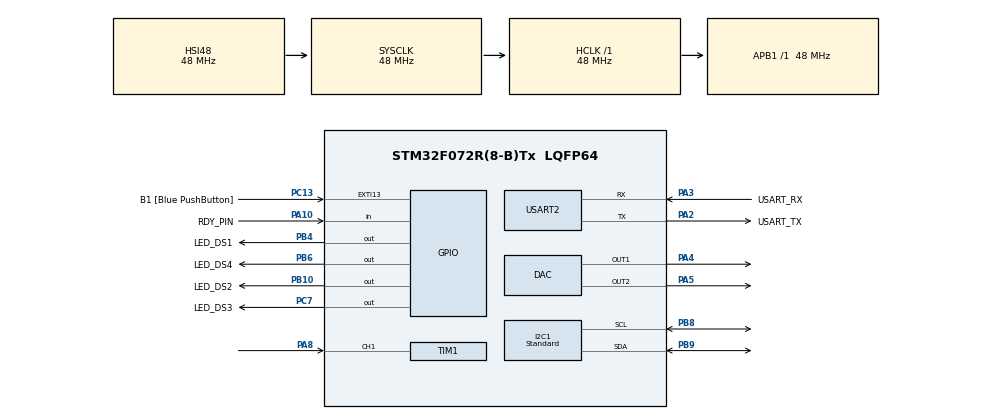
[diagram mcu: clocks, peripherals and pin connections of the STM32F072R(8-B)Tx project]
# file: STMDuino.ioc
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I2C1.I2C_Rise_Time=1
I2C1.I2C_Speed_Mode=I2C_Standard
I2C1.Speed=25
I2C1.Timing=0x00203EFB
Mcu.Family=STM32F0
Mcu.Name=STM32F072R(8-B)Tx
Mcu.Package=LQFP64
PA10.GPIO_Label=RDY_PIN
PA10.GPIO_PuPd=GPIO_PULLUP
PA10.Signal=GPIO_Input
PA13.GPIO_Label=TMS
PA13.Mode=Serial_Wire
PA13.Signal=SYS_SWDIO
PA14.GPIO_Label=TCK
PA14.Mode=Serial_Wire
PA14.Signal=SYS_SWCLK
PA2.GPIO_Label=USART_TX
PA2.GPIO_Mode=GPIO_MODE_AF_PP
PA2.GPIO_PuPd=GPIO_NOPULL
PA2.GPIO_Speed=GPIO_SPEED_FREQ_LOW
PA2.Mode=Asynchronous
PA2.Signal=USART2_TX
PA3.GPIO_Label=USART_RX
PA3.GPIO_Mode=GPIO_MODE_AF_PP
PA3.GPIO_PuPd=GPIO_NOPULL
PA3.GPIO_Speed=GPIO_SPEED_FREQ_LOW
PA3.Mode=Asynchronous
PA3.Signal=USART2_RX
PA4.Signal=COMP_DAC1_group
PA5.Signal=COMP_DAC2_group
PA8.Signal=S_TIM1_CH1
PB10.GPIO_Label=LED_DS2
PB10.Signal=GPIO_Output
PB4.GPIO_Label=LED_DS1
PB4.Signal=GPIO_Output
PB6.GPIO_Label=LED_DS4
PB6.Signal=GPIO_Output
PB8.Mode=I2C
PB8.Signal=I2C1_SCL
PB9.Mode=I2C
PB9.Signal=I2C1_SDA
PC13.GPIO_Label=B1 [Blue PushButton]
PC13.GPIO_ModeDefaultEXTI=GPIO_MODE_IT_FALLING
PC13.Signal=GPXTI13
PC14-OSC32_IN.Mode=LSE-External-Oscillator
PC14-OSC32_IN.Signal=RCC_OSC32_IN
PC15-OSC32_OUT.Mode=LSE-External-Oscillator
PC15-OSC32_OUT.Signal=RCC_OSC32_OUT
PC7.GPIO_Label=LED_DS3
PC7.Signal=GPIO_Output
PF0-OSC_IN.Mode=HSE-External-Clock-Source
PF0-OSC_IN.Signal=RCC_OSC_IN
PF1-OSC_OUT.Signal=RCC_OSC_OUT
ProjectManager.HeapSize=0x200
ProjectManager.StackSize=0x400
ProjectManager.TargetToolchain=SW4STM32
RCC.AHBFreq_Value=48000000
RCC.APB1Freq_Value=48000000
RCC.APB1TimFreq_Value=48000000
RCC.FLatency-AdvancedSettings=FLASH_LATENCY_1
RCC.HCLKFreq_Value=48000000
RCC.PLLDivider=RCC_PREDIV_DIV2
RCC.PLLMUL=RCC_PLL_MUL12
RCC.PREFETCH_ENABLE-AdvancedSettings=1
RCC.SYSCLKFreq_VALUE=48000000
RCC.SYSCLKSource=RCC_SYSCLKSOURCE_HSI48
SH.COMP_DAC1_group.0=DAC_OUT1,DAC_OUT1
SH.COMP_DAC2_group.0=DAC_OUT2,DAC_OUT2
SH.S_TIM1_CH1.0=TIM1_CH1,Input_Capture1_from_TI1
TIM1.Channel-Input_Capture1_from_TI1=TIM_CHANNEL_1
USART2.VirtualMode=VM_ASYNC
USART2.VirtualMode-Asynchronous=VM_ASYNC
VP_TIM1_VS_ClockSourceINT.Mode=Internal
board=NUCLEO-F072RB

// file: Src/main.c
/* USER CODE BEGIN Header */
/**
 ******************************************************************************
 * @file           : main.c
 * @brief          : Main program body
 ******************************************************************************
 ** This notice applies to any and all portions of this file
 * that are not between comment pairs USER CODE BEGIN and
 * USER CODE END. Other portions of this file, whether
 * inserted by the user or by software development tools
 * are owned by their respective copyright owners.
 *
 * COPYRIGHT(c) 2020 STMicroelectronics
 *
 * Redistribution and use in source and binary forms, with or without
 *modification, are permitted provided that the following conditions are met:
 *   1. Redistributions of source code must retain the above copyright notice,
 *      this list of conditions and the following disclaimer.
 *   2. Redistributions in binary form must reproduce the above copyright
 *notice, this list of conditions and the following disclaimer in the
 *documentation and/or other materials provided with the distribution.
 *   3. Neither the name of STMicroelectronics nor the names of its contributors
 *      may be used to endorse or promote products derived from this software
 *      without specific prior written permission.
 *
 * THIS SOFTWARE IS PROVIDED BY THE COPYRIGHT HOLDERS AND CONTRIBUTORS "AS IS"
 * AND ANY EXPRESS OR IMPLIED WARRANTIES, INCLUDING, BUT NOT LIMITED TO, THE
 * IMPLIED WARRANTIES OF MERCHANTABILITY AND FITNESS FOR A PARTICULAR PURPOSE
 *ARE DISCLAIMED. IN NO EVENT SHALL THE COPYRIGHT HOLDER OR CONTRIBUTORS BE
 *LIABLE FOR ANY DIRECT, INDIRECT, INCIDENTAL, SPECIAL, EXEMPLARY, OR
 *CONSEQUENTIAL DAMAGES (INCLUDING, BUT NOT LIMITED TO, PROCUREMENT OF
 *SUBSTITUTE GOODS OR SERVICES; LOSS OF USE, DATA, OR PROFITS; OR BUSINESS
 *INTERRUPTION) HOWEVER CAUSED AND ON ANY THEORY OF LIABILITY, WHETHER IN
 *CONTRACT, STRICT LIABILITY, OR TORT (INCLUDING NEGLIGENCE OR OTHERWISE)
 *ARISING IN ANY WAY OUT OF THE USE OF THIS SOFTWARE, EVEN IF ADVISED OF THE
 *POSSIBILITY OF SUCH DAMAGE.
 *
 ******************************************************************************
 */
/* USER CODE END Header */

#include "main.h"
#include "dac.h"
#include "i2c.h"
#include "tim.h"
#include "usart.h"
#include "gpio.h"
#include "stm32f0xx_hal_dac.h"
#include "stdbool.h"

/* USER CODE BEGIN Includes */
#include <stdio.h>
#include <string.h>
#include <stdint.h>
#include <IQS_Series.h>
/* USER CODE END Includes */

/* USER CODE BEGIN PV */
uint8_t xres = 6;
uint8_t yres = 7;
uint8_t retToCenter = 0;
/* USER CODE END PV */

void SystemClock_Config(void);

/* USER CODE BEGIN 0 */
uint16_t DAC_Map(uint16_t input);
/* USER CODE END 0 */

int main(void)
{

  /* MCU Configuration--------------------------------------------------------*/

  /* Reset of all peripherals, Initializes the Flash interface and the Systick. */
  HAL_Init();

  /* Configure the system clock */
  SystemClock_Config();

  /* Initialize all configured peripherals */
  MX_GPIO_Init();
  MX_USART2_UART_Init();
  MX_I2C1_Init();
  MX_TIM1_Init();
  MX_DAC_Init();
  /* USER CODE BEGIN 2 */
    uint8_t TxHelloWorld[] = "Hello World\r\n";
    HAL_UART_Transmit(&huart2, (uint8_t*)TxHelloWorld, sizeof(TxHelloWorld),
                      1000);

    IQS_Handle IQS = {&hi2c1, "Startup"};
    HAL_StatusTypeDef i2c_status;

    RDY_Delay (5, 100);
    bool whyCantIJustReturn = 0;//turns out I can, clean later
    whyCantIJustReturn = IQS_CheckReset(&IQS);
    HAL_Delay(3);
    if (!whyCantIJustReturn){
    	RDY_Delay (5, 100);
    	IQS_AckReset(&IQS);

    	if (IQS.error != "Iz chill brah"){
    		uint8_t ErrDec[] = "i2c Error \r\n";
        	HAL_UART_Transmit(&huart2, (uint8_t*)ErrDec, sizeof(ErrDec), 1000);
        	HAL_UART_Transmit(&huart2, (uint8_t*)IQS.error,
                         sizeof(IQS.error), 100);
    	}
    }

    char buf[80] = {0};
    uint8_t throwaway2=0;

    RDY_Delay (5, 100);
    i2c_status
        = HAL_I2C_Mem_Read(&hi2c1, IQS_I2C_Address, 0x0004, 1, &throwaway2, 1,
                           1000);  // address is for minor version, but line
                                   // mostly checks status.
    snprintf(buf, sizeof(buf), "Revision read as %u  \r\n", (unsigned)throwaway2);
    HAL_UART_Transmit(&huart2, (uint8_t*)buf, strlen(buf), 1000);

    RDY_Delay (5, 100);
    IQS_SystemConfig(&IQS);

    RDY_Delay (5, 100);
    IQS_ResoWriteXY(&IQS, xres, yres);

    snprintf(buf, sizeof(buf), "Reso set as %u by %u \r\n", (unsigned)xres,
             (unsigned)yres);
    HAL_UART_Transmit(&huart2, (uint8_t*)buf, strlen(buf), 1000);

    uint8_t read_x_res = 0;
    uint8_t read_y_res = 0;
    RDY_Delay (5, 100);
    IQS_ResoReadXY(&IQS, &read_x_res, &read_y_res);

    RDY_Delay (5, 100);
    IQS_Config_Rx(&IQS);
    RDY_Delay (5, 100);
    IQS_Config_Tx(&IQS);

    uint8_t buffer_Rx[10];
    RDY_Delay(5, 100);
    HAL_I2C_Mem_Read(&hi2c1, IQS_I2C_Address, 0x063F, 2, &buffer_Rx, 10,
                               1000);  // address is for minor version, but line
                                       // mostly checks status.
    snprintf(buf, sizeof(buf), "Rx Array order is %u, %u, %u, %u, %u, %u, %u, %u, %u, %u \r\n", (uint8_t)buffer_Rx[0],
    		(unsigned)buffer_Rx[1],(unsigned)buffer_Rx[2],(unsigned)buffer_Rx[3],(unsigned)buffer_Rx[4],
			(unsigned)buffer_Rx[5],(unsigned)buffer_Rx[6],(unsigned)buffer_Rx[7],(unsigned)buffer_Rx[8],
			(unsigned)buffer_Rx[9]);
    HAL_UART_Transmit(&huart2, (uint8_t*)buf, strlen(buf), 1000);

    uint8_t buffer_Tx[15];
    RDY_Delay(5, 100);
    HAL_I2C_Mem_Read(&hi2c1, IQS_I2C_Address, 0x0649, 2, &buffer_Tx, 15,
                               1000);  // address is for minor version, but line
                                       // mostly checks status.
    snprintf(buf, sizeof(buf), "Tx Array order is %u, %u, %u, %u, %u, %u, %u, %u, %u, %u, %u, %u, %u, %u, %u \r\n", (uint8_t)buffer_Tx[0],
    		(unsigned)buffer_Tx[1],(unsigned)buffer_Tx[2],(unsigned)buffer_Tx[3],(unsigned)buffer_Tx[4],
			(unsigned)buffer_Tx[5],(unsigned)buffer_Tx[6],(unsigned)buffer_Tx[7],(unsigned)buffer_Tx[8],
			(unsigned)buffer_Tx[9],(unsigned)buffer_Tx[10],(unsigned)buffer_Tx[11], (unsigned)buffer_Tx[12],
			(unsigned)buffer_Tx[13],(unsigned)buffer_Tx[14]);
    HAL_UART_Transmit(&huart2, (uint8_t*)buf, strlen(buf), 1000);

    RDY_Delay (5, 100);
    IQS_SetupComplete(&IQS);

    RDY_Delay (5, 100);
    IQS_resumeOperation(&IQS);
    snprintf(buf, sizeof(buf), "Reso read as %u by %u \r\n",
             (unsigned)read_x_res, (unsigned)read_y_res);
    HAL_UART_Transmit(&huart2, (uint8_t*)buf, strlen(buf), 1000);

//    HAL_DAC_Init(&hdac);
//    HAL_DAC_Start(&hdac, DAC_CHANNEL_1);
//    HAL_DAC_Start(&hdac, DAC_CHANNEL_2);
//    uint32_t initValue = 2048;
//    HAL_DAC_SetValue(&hdac, DAC_CHANNEL_1, DAC_ALIGN_12B_R, initValue);
//    HAL_DAC_SetValue(&hdac, DAC_CHANNEL_2, DAC_ALIGN_12B_R, initValue);

  /* USER CODE END 2 */

  /* Infinite loop */
  /* USER CODE BEGIN WHILE */
//     while (1) {
    RDY_Delay (5, 100);
         if (HAL_GPIO_ReadPin(RDY_PIN_GPIO_Port, RDY_PIN_Pin) == 1) {

             uint16_t read_x = 0;
             uint16_t read_y = 0;
             IQS_ReadPosABS(&IQS, &read_x, &read_y);
//             IQS_resumeOperation(&IQS);

             uint16_t dac_x = 2048;
             uint16_t dac_y = 2048;
             dac_x = DAC_Map(read_x);
             dac_y = DAC_Map(read_y);
             snprintf(buf, sizeof(buf), "Dac: %u, map: %u \r\n", (unsigned)read_x,
                      (unsigned)dac_x);
             HAL_UART_Transmit(&huart2, (uint8_t*)buf, strlen(buf), 1000);

//             HAL_DAC_SetValue(&hdac, DAC_CHANNEL_1, DAC_ALIGN_12B_R, dac_x);
//             HAL_DAC_SetValue(&hdac, DAC_CHANNEL_2, DAC_ALIGN_12B_R, dac_y);

             snprintf(buf, sizeof(buf), "%u, %u \r\n", (unsigned)read_x,
                      (unsigned)read_y);
             HAL_UART_Transmit(&huart2, (uint8_t*)buf, strlen(buf), 1000);

             RDY_Delay(5,100);
             IQS_ReadABSX(&IQS, &read_x);
             RDY_Delay(5,100);
             IQS_ReadABSY(&IQS, &read_x);
             snprintf(buf, sizeof(buf), "Re read as %u, %u \r\n", (unsigned)read_x,
                      (unsigned)read_y);
             HAL_UART_Transmit(&huart2, (uint8_t*)buf, strlen(buf), 1000);

             retToCenter=1;
             //HAL_Delay(100);
         }
//         else if (retToCenter != 0){
//        	 uint16_t touch_S = 0;
//        	 uint16_t touch_thresh = 5 ;
//        	 IQS_ReadTouchStr(&IQS, &touch_S);
//             snprintf(buf, sizeof(buf), "Touch Strength %u \r\n", (unsigned)touch_S);
//             HAL_UART_Transmit(&huart2, (uint8_t*)buf, strlen(buf), 1000);
//        	 if(touch_S < touch_thresh){
//                 HAL_DAC_SetValue(&hdac, DAC_CHANNEL_1, DAC_ALIGN_12B_R, 2048);
//                 HAL_DAC_SetValue(&hdac, DAC_CHANNEL_2, DAC_ALIGN_12B_R, 2048);
//                 retToCenter = 0;
//        	 }
//
//         }

//     }
    /* USER CODE END WHILE */

}

uint16_t DAC_Map(uint16_t input){
	uint16_t output = 0;
	if (input > 2000) output = 2048;
	else{
		output = (input)*(4096)/(1000);
		if (output > 4096) output = 4096;
		else if (output < 0) output = 0;
	}

	return output;
}

void RDY_Delay (uint8_t delay_ms, uint8_t retries){
    uint8_t attempt = 0;
    HAL_Delay(3);
	while (HAL_GPIO_ReadPin(RDY_PIN_GPIO_Port, RDY_PIN_Pin)==0 && attempt < retries){
    	attempt ++;
		HAL_Delay(delay_ms);
	}
}

void SystemClock_Config(void)
{
  RCC_OscInitTypeDef RCC_OscInitStruct = {0};
  RCC_ClkInitTypeDef RCC_ClkInitStruct = {0};
  RCC_PeriphCLKInitTypeDef PeriphClkInit = {0};

  /**Initializes the CPU, AHB and APB busses clocks
  */
  RCC_OscInitStruct.OscillatorType = RCC_OSCILLATORTYPE_HSI|RCC_OSCILLATORTYPE_HSI48;
  RCC_OscInitStruct.HSIState = RCC_HSI_ON;
  RCC_OscInitStruct.HSI48State = RCC_HSI48_ON;
  RCC_OscInitStruct.HSICalibrationValue = RCC_HSICALIBRATION_DEFAULT;
  RCC_OscInitStruct.PLL.PLLState = RCC_PLL_NONE;
  if (HAL_RCC_OscConfig(&RCC_OscInitStruct) != HAL_OK)
  {
    Error_Handler();
  }
  /**Initializes the CPU, AHB and APB busses clocks
  */
  RCC_ClkInitStruct.ClockType = RCC_CLOCKTYPE_HCLK|RCC_CLOCKTYPE_SYSCLK
                              |RCC_CLOCKTYPE_PCLK1;
  RCC_ClkInitStruct.SYSCLKSource = RCC_SYSCLKSOURCE_HSI48;
  RCC_ClkInitStruct.AHBCLKDivider = RCC_SYSCLK_DIV1;
  RCC_ClkInitStruct.APB1CLKDivider = RCC_HCLK_DIV1;

  if (HAL_RCC_ClockConfig(&RCC_ClkInitStruct, FLASH_LATENCY_1) != HAL_OK)
  {
    Error_Handler();
  }
  PeriphClkInit.PeriphClockSelection = RCC_PERIPHCLK_USART2|RCC_PERIPHCLK_I2C1;
  PeriphClkInit.Usart2ClockSelection = RCC_USART2CLKSOURCE_PCLK1;
  PeriphClkInit.I2c1ClockSelection = RCC_I2C1CLKSOURCE_HSI;
  if (HAL_RCCEx_PeriphCLKConfig(&PeriphClkInit) != HAL_OK)
  {
    Error_Handler();
  }
}

void Error_Handler(void)
{
  /* USER CODE BEGIN Error_Handler_Debug */
    /* User can add his own implementation to report the HAL error return state
     */

  /* USER CODE END Error_Handler_Debug */
}

#ifdef  USE_FULL_ASSERT
/**
  * @brief  Reports the name of the source file and the source line number
  *         where the assert_param error has occurred.
  * @param  file: pointer to the source file name
  * @param  line: assert_param error line source number
  * @retval None
  */
void assert_failed(char *file, uint32_t line)
{
  /* USER CODE BEGIN 6 */
    /* User can add his own implementation to report the file name and line
       number, tex: printf("Wrong parameters value: file %s on line %d\r\n",
       file, line) */
  /* USER CODE END 6 */
}
#endif /* USE_FULL_ASSERT */

/************************ (C) COPYRIGHT STMicroelectronics *****END OF FILE****/
